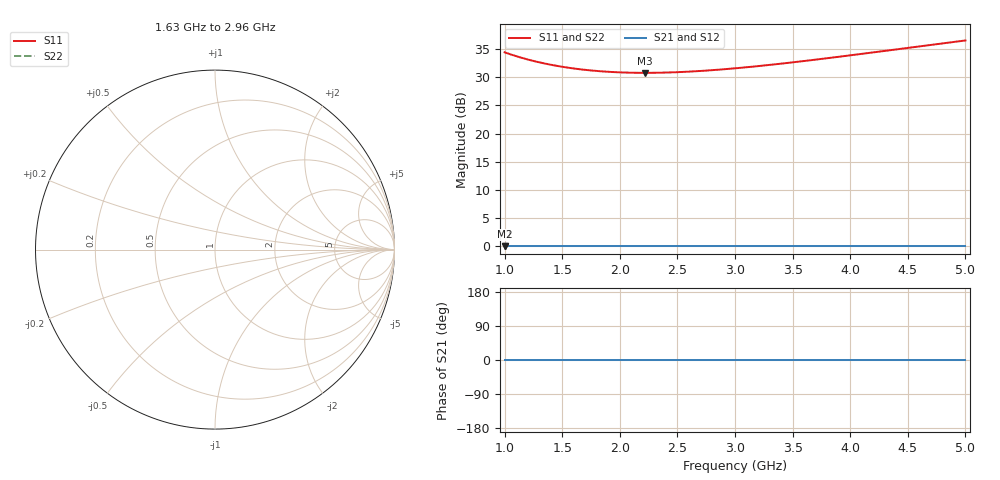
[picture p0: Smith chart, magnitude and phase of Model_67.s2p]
# GHZ S RI R 50
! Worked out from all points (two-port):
!   401 points, 1 GHz to 5 GHz, reference 50 ohm
!   highest |S21| = 0.00 dB at 1 GHz (marker M1); lowest = 0.0 dB at 1 GHz (marker M2)
!   |S21| within 3 dB of the highest: start of sweep to end of sweep
!   lowest |S11| = 30.8 dB at 2.22 GHz (marker M3)
!   |S11| at or under -10 dB: nowhere
!   |S22| runs from 30.8 to 36.6 dB; largest |S21 - S12| = 0
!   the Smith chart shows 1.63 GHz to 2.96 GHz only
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1  52.77 0  1 0  1 0  52.77 0
1.15  47.11 0  1 0  1 0  47.11 0
1.22  45.04 0  1 0  1 0  45.04 0
1.3  43.02 0  1 0  1 0  43.02 0
1.38  41.32 0  1 0  1 0  41.32 0
1.47  39.73 0  1 0  1 0  39.73 0
1.57  38.29 0  1 0  1 0  38.29 0
1.67  37.14 0  1 0  1 0  37.14 0
1.8  36.04 0  1 0  1 0  36.04 0
1.93  35.29 0  1 0  1 0  35.29 0
2.07  34.83 0  1 0  1 0  34.83 0
2.22  34.67 0  1 0  1 0  34.67 0
2.34  34.76 0  1 0  1 0  34.76 0
2.5  35.16 0  1 0  1 0  35.16 0
2.66  35.82 0  1 0  1 0  35.82 0
3  38.04 0  1 0  1 0  38.04 0
3.33  41.09 0  1 0  1 0  41.09 0
3.67  45.05 0  1 0  1 0  45.05 0
4  49.61 0  1 0  1 0  49.61 0
4.34  54.99 0  1 0  1 0  54.99 0
4.63  60.1 0  1 0  1 0  60.1 0
5  67.28 0  1 0  1 0  67.28 0
